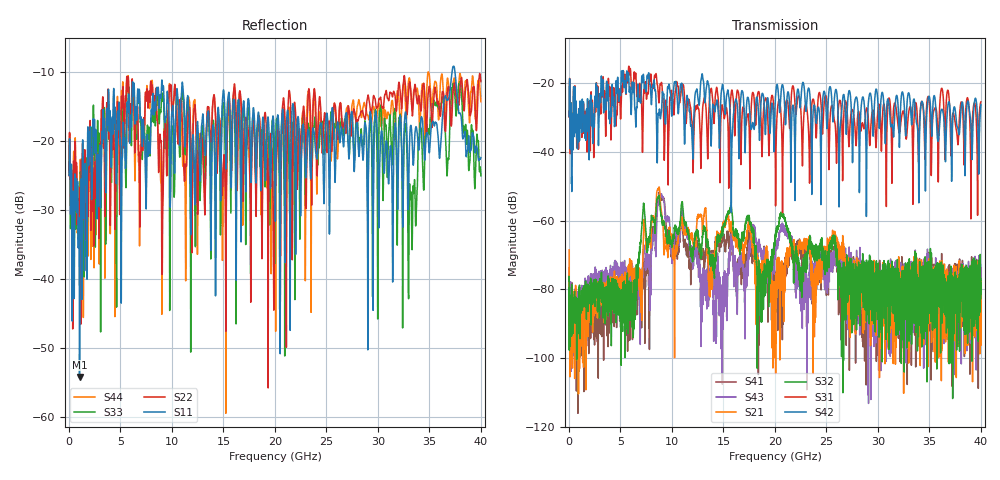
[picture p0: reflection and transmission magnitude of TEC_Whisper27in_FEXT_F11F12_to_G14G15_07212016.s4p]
! TE Connectivity
! F11F12-G14G15_FEXT
!! PART DESCRIPTION: Whisper 27in Megtron 6 HVLP-HVLP-HVLP Channel Model, bulkhead 2.92mm test points
!! MODEL DESCRIPTION: System 4-port S-parameter
!! MODEL STATUS: Measured
!! MODEL GEOMETRY: Channel Model
!! MODEL FREQUENCY RANGE: DC to 40 GHz in 10 MHz frequency steps
!! MODEL EDGE RATE LIMITATION: 12.5 ps (Using conservative 0.5/Fmax rule of thumb)
!! TIME-DOMAIN TRANSFORM CAUTIONS:
!! 1.) Do not simulate transient edge rates faster than the number listed above.  Edge
!!  rates faster than this number contain significant spectral content at frequencies
!!  above the model's highest frequency.
!! 2.) Even when simulating edge rates that are slower than the number listed above, be
!!  aware that the best time resolution possible with a direct iFFT is (1 / 2Fmax).
!!  As a result, time resolution is typically not adequate for most time-domain
!!  simulations unless tricks such as frequency-domain zero-padding and windowing are
!!  used to minimize leakage and aliasing.
!! 3.) Because the model has a uniform frequency step, a direct iFFT will result in an
!!  impulse that that has a time length given by either (1 / Fstep) or (1 / 2Fstep),
!!  depending on the transform being used.  Care has been taken in selecting the
!!  frequency step to ensure a settled impulse response for the model.  Therefore,
!!  convolution with the model's impulse response should present no issues.  However,
!!  if directly concatenating s-parameter models in the frequency domain a user must
!!  either interpolate necessary interim frequencies or complete impulse response
!!  zero-padding.  Impulse response zero-padding is more difficult, but more accurate.
!! PORT DEFINITIONS:
!! Port  1  ----->  Side A  F11  G14  Side B  <-----  Port  2
!! Port  3  ----->  Side A  F12  G15  Side B  <-----  Port  4
! Point-to-Point link (differential)  !
! Connectors:  !
!  1: STRADA Whisper 3.9mm  !
! Materials:  !
!  Backplane: Megtron-6 HVLP  !
!  Daughtercard: Megtron-6 HVLP  !
! Stack-up:  !
!  Backplane: 20 layers, 190mil thick  !
!  Daughtercard: 14 layers, 110mil thick  !
! Trace Length:  !
!  Backplane: 17in  !
!  Daughtercards: 5in  !
! Trace Width:  !
!  Backplane: 5.75-6.25-5.75 mils  !
!  Daughtercards: 6-9-6 mils  !
! Geometry:  !
!  Backplane: Stripline  !
!  Daughtercards: Stripline  !
! Layer Connections:  !
!  Backplane: Layer 16, counterbored(1-6mil stub)  !
!  Daughtercard: Layer 9, counterbored(1-6mil stub) !
! Freq. Range: 0 GHz - 40 GHz  !
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# hz S ma R 50
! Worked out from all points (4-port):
!   4000 points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, 10 MHz to 40 GHz, reference 50 ohm
!   strongest paths, dB at 10 MHz, 10.01 GHz, 20.01 GHz, 30.01 GHz, 40 GHz:
!     S42: -29.7, -28.8, -26.8, -26.1, -26.3
!     S31: -29.9, -24.7, -36.7, -27.4, -25.5
!     S32: -77.7, -65.9, -65.9, -81.9, -76.9
!     S21: -68.6, -66.3, -94.2, -73.9, -83.8
!     S43: -85.3, -72.5, -69.7, -86.2, -73.9
!     S41: -73.7, -67.5, -82.4, -73.9, -74.3
!   lowest |S11| = -54.2 dB at 1.02 GHz (marker M1), VSWR 1.00, Z = 49.8 + j0.0404 ohm
!   |S11| at or under -10 dB: start of sweep to 37.21 GHz; 37.48 GHz to end of sweep
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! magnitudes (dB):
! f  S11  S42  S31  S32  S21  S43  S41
! 10 MHz  -25.0  -29.7  -29.9  -77.7  -68.6  -85.3  -73.7
! 1.02 GHz  -54.2  -36.7  -32.1  -78.8  -103.2  -82.6  -93.6
! 6.95 GHz  -16.7  -25.8  -24.4  -66.7  -80.1  -88.4  -78.4
! 8.67 GHz  -12.3  -28.7  -23.4  -53.2  -50.8  -54.7  -53.3
! 13.73 GHz  -26.4  -29.6  -22.4  -71.5  -75.6  -71.6  -72.0
! 15.35 GHz  -17.1  -22.9  -28.3  -58.1  -59.2  -86.0  -64.4
! 40 GHz  -22.4  -26.3  -25.5  -76.9  -83.8  -73.9  -74.3
